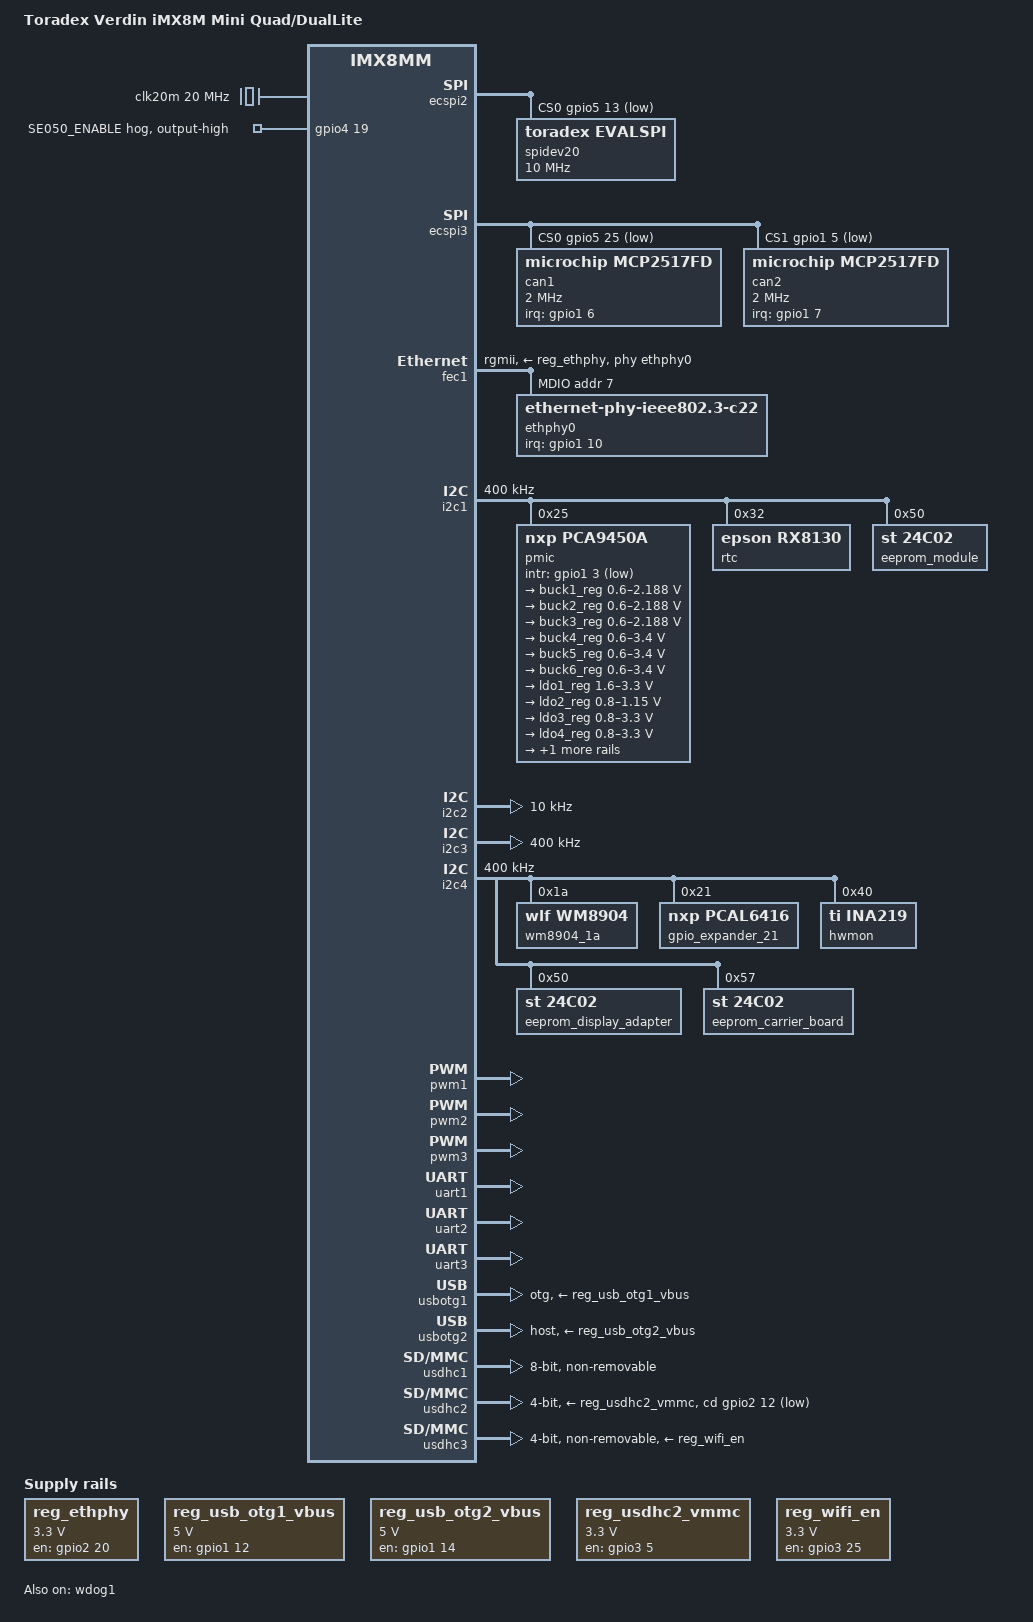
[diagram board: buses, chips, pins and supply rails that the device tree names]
// SPDX-License-Identifier: GPL-2.0+ OR MIT
/*
 * Copyright 2020 Toradex
 */

/dts-v1/;

#include <dt-bindings/usb/pd.h>
#include "imx8mm.dtsi"

/ {
	model = "Toradex Verdin iMX8M Mini Quad/DualLite";
	compatible = "toradex,verdin-imx8mm", "fsl,imx8mm";

	chosen {
		stdout-path = &uart1;
	};

	aliases {
		eeprom0 = &eeprom_module;
		eeprom1 = &eeprom_carrier_board;
		eeprom2 = &eeprom_display_adapter;
	};

	/* fixed clock dedicated to SPI CAN controller */
	clk20m: oscillator {
		compatible = "fixed-clock";
		#clock-cells = <0>;
		clock-frequency = <20000000>;
	};

	reg_ethphy: regulator-ethphy {
		compatible = "regulator-fixed";
		enable-active-high;
		gpio = <&gpio2 20 GPIO_ACTIVE_HIGH>;
		off-on-delay = <500000>;
		pinctrl-names = "default";
		pinctrl-0 = <&pinctrl_reg_eth>;
		regulator-boot-on;
		regulator-max-microvolt = <3300000>;
		regulator-min-microvolt = <3300000>;
		regulator-name = "V3.3_ETH";
		startup-delay-us = <200000>;
	};

	reg_usb_otg1_vbus: regulator-usb-otg1 {
		compatible = "regulator-fixed";
		enable-active-high;
		/* Verdin USB1_EN */
		gpio = <&gpio1 12 GPIO_ACTIVE_HIGH>;
		pinctrl-names = "default";
		pinctrl-0 = <&pinctrl_reg_usb1_en>;
		regulator-name = "usb_otg1_vbus";
		regulator-min-microvolt = <5000000>;
		regulator-max-microvolt = <5000000>;
	};

	reg_usb_otg2_vbus: regulator-usb-otg2 {
		compatible = "regulator-fixed";
		enable-active-high;
		/* Verdin USB2_EN */
		gpio = <&gpio1 14 GPIO_ACTIVE_HIGH>;
		pinctrl-names = "default";
		pinctrl-0 = <&pinctrl_reg_usb2_en>;
		regulator-name = "usb_otg2_vbus";
		regulator-min-microvolt = <5000000>;
		regulator-max-microvolt = <5000000>;
	};

	reg_usdhc2_vmmc: regulator-usdhc2 {
		compatible = "regulator-fixed";
		enable-active-high;
		gpio = <&gpio3 5 GPIO_ACTIVE_HIGH>;
		pinctrl-names = "default";
		pinctrl-0 = <&pinctrl_usdhc2_pwr_en>;
		regulator-name = "V3.3_SD";
		regulator-min-microvolt = <3300000>;
		regulator-max-microvolt = <3300000>;
		startup-delay-us = <2000>;
	};

	reg_wifi_en: regulator-wifi-en {
		compatible = "regulator-fixed";
		enable-active-high;
		gpio = <&gpio3 25 GPIO_ACTIVE_HIGH>;
		pinctrl-names = "default";
		pinctrl-0 = <&pinctrl_wifi_pwr_en>;
		regulator-name = "V3.3_WI-FI";
		regulator-min-microvolt = <3300000>;
		regulator-max-microvolt = <3300000>;
		startup-delay-us = <2000>;
	};
};

&A53_0 {
	arm-supply = <&buck2_reg>;
};

&clk {
	assigned-clocks = <&clk IMX8MM_AUDIO_PLL1>, <&clk IMX8MM_AUDIO_PLL2>;
	assigned-clock-rates = <786432000>, <722534400>;
};

/* Verdin SPI_1 */
&ecspi2 {
	#address-cells = <1>;
	#size-cells = <0>;
	pinctrl-names = "default";
	pinctrl-0 = <&pinctrl_ecspi2>;
	cs-gpios = <&gpio5 13 GPIO_ACTIVE_LOW>;
	status = "okay";

	spidev20: spidev@0 {
		compatible = "toradex,evalspi";
		reg = <0>;
		spi-max-frequency = <10000000>;
		status = "okay";
	};
};

/* On-module CAN controller 1 & 2 */
&ecspi3 {
	#address-cells = <1>;
	#size-cells = <0>;
	cs-gpios = <&gpio5 25 GPIO_ACTIVE_LOW>,
		   <&gpio1 5 GPIO_ACTIVE_LOW>;
	/* This property is required, even if marked as obsolete in the doku */
	fsl,spi-num-chipselects = <2>;
	pinctrl-names = "default";
	pinctrl-0 = <&pinctrl_ecspi3>;
	status = "okay";

	can1: can@0 {
		compatible = "microchip,mcp2517fd";
		clocks = <&clk20m>;
		gpio-controller;
		interrupt-parent = <&gpio1>;
		interrupts = <6 IRQ_TYPE_EDGE_FALLING>;
		microchip,clock-allways-on;
		microchip,clock-out-div = <1>;
		pinctrl-names = "default";
		pinctrl-0 = <&pinctrl_can1_int>;
		reg = <0>;
		spi-max-frequency = <2000000>;
	};

	can2: can@1 {
		compatible = "microchip,mcp2517fd";
		clocks = <&clk20m>;
		gpio-controller;
		interrupt-parent = <&gpio1>;
		interrupts = <7 IRQ_TYPE_EDGE_FALLING>;
		pinctrl-names = "default";
		pinctrl-0 = <&pinctrl_can2_int>;
		reg = <1>;
		spi-max-frequency = <2000000>;
	};
};

&fec1 {
	fsl,magic-packet;
	phy-handle = <&ethphy0>;
	phy-mode = "rgmii";
	phy-supply = <&reg_ethphy>;
	pinctrl-names = "default", "sleep";
	pinctrl-0 = <&pinctrl_fec1>;
	pinctrl-1 = <&pinctrl_fec1_sleep>;
	status = "okay";

	mdio {
		#address-cells = <1>;
		#size-cells = <0>;

		ethphy0: ethernet-phy@7 {
			compatible = "ethernet-phy-ieee802.3-c22";
			interrupt-parent = <&gpio1>;
			interrupts = <10 IRQ_TYPE_LEVEL_LOW>;
			micrel,led-mode = <0>;
			reg = <7>;
		};
	};
};

&gpio4 {
	/*
	 * The SE050 security element may be driven via I2C from user space.
	 * The element itself is enabled here as it has no kernel driver.
	 */
	se050_ena {
		gpio-hog;
		gpios = <19 GPIO_ACTIVE_HIGH>;
		line-name = "SE050_ENABLE";
		output-high;
		pinctrl-names = "default";
		pinctrl-0 = <&pinctrl_se050_ena>;
	};
};

/* On-module I2C */
&i2c1 {
	clock-frequency = <400000>;
	pinctrl-names = "default";
	pinctrl-0 = <&pinctrl_i2c1>;
	status = "okay";

	/* Assembled on V1.1 HW and later */
	pmic {
		reg = <0x25>;
		u-boot,dm-spl;
		compatible = "nxp,pca9450a";
		/* PMIC PCA9450 PMIC_nINT GPIO1_IO3 */
		pinctrl-0 = <&pinctrl_pmic>;
		gpio_intr = <&gpio1 3 GPIO_ACTIVE_LOW>;

		regulators {
			u-boot,dm-spl;
			#address-cells = <1>;
			#size-cells = <0>;

			pca9450,pmic-buck2-uses-i2c-dvs;
			/* Run/Standby voltage */
			pca9450,pmic-buck2-dvs-voltage = <950000>, <850000>;

			buck1_reg: regulator@0 {
				reg = <0>;
				regulator-compatible = "buck1";
				regulator-min-microvolt = <600000>;
				regulator-max-microvolt = <2187500>;
				regulator-boot-on;
				regulator-always-on;
				regulator-ramp-delay = <3125>;
			};

			buck2_reg: regulator@1 {
				reg = <1>;
				regulator-compatible = "buck2";
				regulator-min-microvolt = <600000>;
				regulator-max-microvolt = <2187500>;
				regulator-boot-on;
				regulator-always-on;
				regulator-ramp-delay = <3125>;
			};

			buck3_reg: regulator@2 {
				reg = <2>;
				regulator-compatible = "buck3";
				regulator-min-microvolt = <600000>;
				regulator-max-microvolt = <2187500>;
				regulator-boot-on;
				regulator-always-on;
			};

			buck4_reg: regulator@3 {
				reg = <3>;
				regulator-compatible = "buck4";
				regulator-min-microvolt = <600000>;
				regulator-max-microvolt = <3400000>;
				regulator-boot-on;
				regulator-always-on;
			};

			buck5_reg: regulator@4 {
				reg = <4>;
				regulator-compatible = "buck5";
				regulator-min-microvolt = <600000>;
				regulator-max-microvolt = <3400000>;
				regulator-boot-on;
				regulator-always-on;
			};

			buck6_reg: regulator@5 {
				reg = <5>;
				regulator-compatible = "buck6";
				regulator-min-microvolt = <600000>;
				regulator-max-microvolt = <3400000>;
				regulator-boot-on;
				regulator-always-on;
			};

			ldo1_reg: regulator@6 {
				reg = <6>;
				regulator-compatible = "ldo1";
				regulator-min-microvolt = <1600000>;
				regulator-max-microvolt = <3300000>;
				regulator-boot-on;
				regulator-always-on;
			};

			ldo2_reg: regulator@7 {
				reg = <7>;
				regulator-compatible = "ldo2";
				regulator-min-microvolt = <800000>;
				regulator-max-microvolt = <1150000>;
				regulator-boot-on;
				regulator-always-on;
			};

			ldo3_reg: regulator@8 {
				reg = <8>;
				regulator-compatible = "ldo3";
				regulator-min-microvolt = <800000>;
				regulator-max-microvolt = <3300000>;
				regulator-boot-on;
				regulator-always-on;
			};

			ldo4_reg: regulator@9 {
				reg = <9>;
				regulator-compatible = "ldo4";
				regulator-min-microvolt = <800000>;
				regulator-max-microvolt = <3300000>;
				regulator-boot-on;
				regulator-always-on;
			};

			ldo5_reg: regulator@10 {
				reg = <10>;
				regulator-compatible = "ldo5";
				regulator-min-microvolt = <800000>;
				regulator-max-microvolt = <3300000>;
			};

		};
	};

	/* Epson RX8130 real time clock on carrier board */
	rtc@32 {
		compatible = "epson,rx8130";
		reg = <0x32>;
	};

	eeprom_module: eeprom@50 {
		compatible = "st,24c02", "atmel,24c02", "i2c-eeprom";
		pagesize = <16>;
		reg = <0x50>;
	};
};

/* Verdin I2C_2_DSI */
&i2c2 {
	clock-frequency = <10000>;
	pinctrl-names = "default";
	pinctrl-0 = <&pinctrl_i2c2>;
	status = "okay";
};

/* Verdin I2C_3_HDMI N/A */

/* Verdin I2C_4_CSI */
&i2c3 {
	clock-frequency = <400000>;
	pinctrl-names = "default";
	pinctrl-0 = <&pinctrl_i2c3>;
	status = "okay";
};

/* Verdin I2C_1 */
&i2c4 {
	clock-frequency = <400000>;
	pinctrl-names = "default";
	pinctrl-0 = <&pinctrl_i2c4>;
	status = "okay";

	/* Audio Codec */
	wm8904_1a: codec@1a {
		compatible = "wlf,wm8904";
		#sound-dai-cells = <0>;
		clocks = <&clk IMX8MM_CLK_SAI2_ROOT>;
		clock-names = "mclk";
		reg = <0x1a>;
	};

	gpio_expander_21: gpio-expander@21 {
		compatible = "nxp,pcal6416";
		#gpio-cells = <2>;
		gpio-controller;
		reg = <0x21>;
	};

	/* Current measurement into module VCC */
	hwmon@40 {
		compatible = "ti,ina219";
		reg = <0x40>;
		shunt-resistor = <10000>;
		status = "okay";
	};

	/* EEPROM on display adapter (MIPI DSI Display Adapter) */
	eeprom_display_adapter: eeprom@50 {
		compatible = "st,24c02", "atmel,24c02", "i2c-eeprom";
		pagesize = <16>;
		reg = <0x50>;
	};

	/* EEPROM on carrier board */
	eeprom_carrier_board: eeprom@57 {
		compatible = "st,24c02", "atmel,24c02", "i2c-eeprom";
		pagesize = <16>;
		reg = <0x57>;
	};
};

/* Verdin PWM_3_DSI */
&pwm1 {
	pinctrl-names = "default";
	pinctrl-0 = <&pinctrl_pwm_1>;
	#pwm-cells = <3>;
	status = "okay";
};

/* Verdin PWM_1 */
&pwm2 {
	pinctrl-names = "default";
	pinctrl-0 = <&pinctrl_pwm_2>;
	#pwm-cells = <3>;
	status = "okay";
};

/* Verdin PWM_2 */
&pwm3 {
	pinctrl-names = "default";
	pinctrl-0 = <&pinctrl_pwm_3>;
	#pwm-cells = <3>;
	status = "okay";
};

/* Verdin UART_3, Console/Debug UART */
&uart1 {
	fsl,uart-has-rtscts;
	pinctrl-names = "default";
	pinctrl-0 = <&pinctrl_uart1>;
	status = "okay";
};

/* Verdin UART_1 */
&uart2 {
	pinctrl-names = "default";
	pinctrl-0 = <&pinctrl_uart2>;
	fsl,uart-has-rtscts;
	status = "okay";
};

/* Verdin UART_2 */
&uart3 {
	pinctrl-names = "default";
	pinctrl-0 = <&pinctrl_uart3>;
	fsl,uart-has-rtscts;
	status = "okay";
};

/* Verdin UART_4 */
/*
 * resource allocated to M4 by default, must not be accessed from A-35 or you
 * get an OOPS
 */
&uart4 {
	pinctrl-names = "default";
	pinctrl-0 = <&pinctrl_uart4>;
	status = "disabled";
};

/* Verdin USB_1 */
&usbotg1 {
	dr_mode = "otg";
	picophy,dc-vol-level-adjust = <7>;
	picophy,pre-emp-curr-control = <3>;
	vbus-supply = <&reg_usb_otg1_vbus>;
	status = "okay";
};

/* Verdin USB_2 */
&usbotg2 {
	dr_mode = "host";
	picophy,dc-vol-level-adjust = <7>;
	picophy,pre-emp-curr-control = <3>;
	vbus-supply = <&reg_usb_otg2_vbus>;
	status = "okay";
};

/* On-module eMMC */
&usdhc1 {
	bus-width = <8>;
	keep-power-in-suspend;
	non-removable;
	pinctrl-names = "default", "state_100mhz", "state_200mhz";
	pinctrl-0 = <&pinctrl_usdhc1>;
	pinctrl-1 = <&pinctrl_usdhc1_100mhz>;
	pinctrl-2 = <&pinctrl_usdhc1_200mhz>;
	pm-ignore-notify;
	status = "okay";
	/* TODO Strobe */
};

/* Verdin SD_1 */
&usdhc2 {
	bus-width = <4>;
	cd-gpios = <&gpio2 12 GPIO_ACTIVE_LOW>;
	pinctrl-names = "default", "state_100mhz", "state_200mhz";
	pinctrl-0 = <&pinctrl_usdhc2>, <&pinctrl_usdhc2_cd>;
	pinctrl-1 = <&pinctrl_usdhc2_100mhz>, <&pinctrl_usdhc2_cd>;
	pinctrl-2 = <&pinctrl_usdhc2_200mhz>, <&pinctrl_usdhc2_cd>;
	vmmc-supply = <&reg_usdhc2_vmmc>;
	status = "okay";
};

/* On-module Wi-Fi */
&usdhc3 {
	bus-width = <4>;
	non-removable;
	pinctrl-names = "default", "state_100mhz", "state_200mhz";
	pinctrl-0 = <&pinctrl_usdhc3>, <&pinctrl_wifi_ctrl>;
	pinctrl-1 = <&pinctrl_usdhc3_100mhz>, <&pinctrl_wifi_ctrl>;
	pinctrl-2 = <&pinctrl_usdhc3_200mhz>, <&pinctrl_wifi_ctrl>;
	vmmc-supply = <&reg_wifi_en>;
	status = "okay";
};

&wdog1 {
	fsl,ext-reset-output;
	pinctrl-names = "default";
	pinctrl-0 = <&pinctrl_wdog>;
	status = "okay";
};

&iomuxc {
	pinctrl-names = "default";
	pinctrl-0 = <&pinctrl_dsi_bkl_en>, <&pinctrl_gpio1>, <&pinctrl_gpio2>,
		    <&pinctrl_gpio3>, <&pinctrl_gpio4>, <&pinctrl_gpio5>,
		    <&pinctrl_gpio6>, <&pinctrl_gpio7>, <&pinctrl_gpio8>,
		    <&pinctrl_gpio_hog1>, <&pinctrl_gpio_hog2>,
		    <&pinctrl_gpio_hog3>, <&pinctrl_gpio_hpd>;

	pinctrl_can1_int: can1intgrp {
		fsl,pins = <
			MX8MM_IOMUXC_GPIO1_IO06_GPIO1_IO6	0x1c4
		>;
	};

	pinctrl_can2_int: can2intgrp {
		fsl,pins = <
			MX8MM_IOMUXC_GPIO1_IO07_GPIO1_IO7	0x1c4
		>;
	};

	pinctrl_ctrl_force_off_moci: ctrlforceoffgrp {
		fsl,pins = <
			MX8MM_IOMUXC_SAI5_RXC_GPIO3_IO20	0x1c4		/* SODIMM 250 */
		>;
	};

	pinctrl_dsi_bkl_en: dsi_bkl_en {
		fsl,pins = <
			MX8MM_IOMUXC_NAND_CE2_B_GPIO3_IO3	0x1c4		/* SODIMM 21 */
		>;
	};

	pinctrl_ecspi2: ecspi2grp {
		fsl,pins = <
			MX8MM_IOMUXC_ECSPI2_MISO_ECSPI2_MISO	0x1c4		/* SODIMM 198 */
			MX8MM_IOMUXC_ECSPI2_MOSI_ECSPI2_MOSI	0x4		/* SODIMM 200 */
			MX8MM_IOMUXC_ECSPI2_SCLK_ECSPI2_SCLK	0x4		/* SODIMM 196 */
			MX8MM_IOMUXC_ECSPI2_SS0_GPIO5_IO13	0x1c4		/* SODIMM 202 */
		>;
	};

	pinctrl_ecspi3: ecspi3grp {
		fsl,pins = <
			MX8MM_IOMUXC_GPIO1_IO05_GPIO1_IO5	0x1c4
			MX8MM_IOMUXC_UART1_RXD_ECSPI3_SCLK	0x4
			MX8MM_IOMUXC_UART1_TXD_ECSPI3_MOSI	0x4
			MX8MM_IOMUXC_UART2_RXD_ECSPI3_MISO	0x1c4
			MX8MM_IOMUXC_UART2_TXD_GPIO5_IO25	0x1c4
		>;
	};

	pinctrl_fec1: fec1grp {
		fsl,pins = <
			MX8MM_IOMUXC_ENET_MDC_ENET1_MDC			0x3
			MX8MM_IOMUXC_ENET_MDIO_ENET1_MDIO		0x3
			MX8MM_IOMUXC_ENET_TD0_ENET1_RGMII_TD0		0x1f
			MX8MM_IOMUXC_ENET_TD1_ENET1_RGMII_TD1		0x1f
			MX8MM_IOMUXC_ENET_TD2_ENET1_RGMII_TD2		0x1f
			MX8MM_IOMUXC_ENET_TD3_ENET1_RGMII_TD3		0x1f
			MX8MM_IOMUXC_ENET_RD0_ENET1_RGMII_RD0		0x91
			MX8MM_IOMUXC_ENET_RD1_ENET1_RGMII_RD1		0x91
			MX8MM_IOMUXC_ENET_RD2_ENET1_RGMII_RD2		0x91
			MX8MM_IOMUXC_ENET_RD3_ENET1_RGMII_RD3		0x91
			MX8MM_IOMUXC_ENET_RXC_ENET1_RGMII_RXC		0x91
			MX8MM_IOMUXC_ENET_RX_CTL_ENET1_RGMII_RX_CTL	0x91
			MX8MM_IOMUXC_ENET_TXC_ENET1_RGMII_TXC		0x1f
			MX8MM_IOMUXC_ENET_TX_CTL_ENET1_RGMII_TX_CTL	0x1f
			MX8MM_IOMUXC_GPIO1_IO10_GPIO1_IO10		0x1c4
		>;
	};

	pinctrl_fec1_sleep: fec1-sleepgrp {
		fsl,pins = <
			MX8MM_IOMUXC_ENET_MDC_ENET1_MDC			0x3
			MX8MM_IOMUXC_ENET_MDIO_ENET1_MDIO		0x3
			MX8MM_IOMUXC_ENET_TD0_GPIO1_IO21		0x1f
			MX8MM_IOMUXC_ENET_TD1_GPIO1_IO20		0x1f
			MX8MM_IOMUXC_ENET_TD2_GPIO1_IO19		0x1f
			MX8MM_IOMUXC_ENET_TD3_GPIO1_IO18		0x1f
			MX8MM_IOMUXC_ENET_RD0_ENET1_RGMII_RD0		0x91
			MX8MM_IOMUXC_ENET_RD1_ENET1_RGMII_RD1		0x91
			MX8MM_IOMUXC_ENET_RD2_ENET1_RGMII_RD2		0x91
			MX8MM_IOMUXC_ENET_RD3_ENET1_RGMII_RD3		0x91
			MX8MM_IOMUXC_ENET_TXC_GPIO1_IO23		0x1f
			MX8MM_IOMUXC_ENET_TX_CTL_GPIO1_IO22		0x1f
			MX8MM_IOMUXC_ENET_RXC_ENET1_RGMII_RXC		0x91
			MX8MM_IOMUXC_ENET_RX_CTL_ENET1_RGMII_RX_CTL	0x91
			MX8MM_IOMUXC_GPIO1_IO10_GPIO1_IO10		0x184
		>;
	};

	pinctrl_flexspi0: flexspi0grp {
		fsl,pins = <
			MX8MM_IOMUXC_NAND_ALE_QSPI_A_SCLK	0x1c2		/* SODIMM 52 */
			MX8MM_IOMUXC_NAND_CE0_B_QSPI_A_SS0_B	0x82		/* SODIMM 54 */
			MX8MM_IOMUXC_NAND_CE1_B_QSPI_A_SS1_B	0x82		/* SODIMM 64 */
			MX8MM_IOMUXC_NAND_DATA00_QSPI_A_DATA0	0x82		/* SODIMM 56 */
			MX8MM_IOMUXC_NAND_DATA01_QSPI_A_DATA1	0x82		/* SODIMM 58 */
			MX8MM_IOMUXC_NAND_DATA02_QSPI_A_DATA2	0x82		/* SODIMM 60 */
			MX8MM_IOMUXC_NAND_DATA03_QSPI_A_DATA3	0x82		/* SODIMM 62 */
			MX8MM_IOMUXC_NAND_DQS_QSPI_A_DQS	0x82		/* SODIMM 66 */
		>;
	};

	/* (MEZ_)GPIO_1 shared with (MEZ_)DSI_1_INT# on Verdin Development Board */
	pinctrl_gpio1: gpio1grp {
		fsl,pins = <
			MX8MM_IOMUXC_NAND_CE3_B_GPIO3_IO4	0x184		/* SODIMM 206 */
		>;
	};

	pinctrl_gpio2: gpio2grp {
		fsl,pins = <
			MX8MM_IOMUXC_SPDIF_EXT_CLK_GPIO5_IO5	0x184		/* SODIMM 208 */
		>;
	};

	pinctrl_gpio3: gpio3grp {
		fsl,pins = <
			MX8MM_IOMUXC_UART3_RXD_GPIO5_IO26	0x184		/* SODIMM 210 */
		>;
	};

	pinctrl_gpio4: gpio4grp {
		fsl,pins = <
			MX8MM_IOMUXC_UART3_TXD_GPIO5_IO27	0x184		/* SODIMM 212 */
		>;
	};

	pinctrl_gpio5: gpio5grp {
		fsl,pins = <
			MX8MM_IOMUXC_GPIO1_IO00_GPIO1_IO0	0x184		/* SODIMM 216 */
		>;
	};

	pinctrl_gpio6: gpio6grp {
		fsl,pins = <
			MX8MM_IOMUXC_GPIO1_IO11_GPIO1_IO11	0x184		/* SODIMM 218 */
		>;
	};

	pinctrl_gpio7: gpio7grp {
		fsl,pins = <
			MX8MM_IOMUXC_GPIO1_IO08_GPIO1_IO8	0x184		/* SODIMM 220 */
		>;
	};

	pinctrl_gpio8: gpio8grp {
		fsl,pins = <
			MX8MM_IOMUXC_GPIO1_IO09_GPIO1_IO9	0x184		/* SODIMM 222 */
		>;
	};

	pinctrl_gpio_hog1: gpiohog1grp {
		fsl,pins = <
			MX8MM_IOMUXC_SAI1_MCLK_GPIO4_IO20	0x1c4		/* SODIMM 88 */
			MX8MM_IOMUXC_SAI1_RXC_GPIO4_IO1		0x1c4		/* SODIMM 90 */
			MX8MM_IOMUXC_SAI1_RXD0_GPIO4_IO2	0x1c4		/* SODIMM 92 */
			MX8MM_IOMUXC_SAI1_RXD1_GPIO4_IO3	0x1c4		/* SODIMM 94 */
			MX8MM_IOMUXC_SAI1_RXD2_GPIO4_IO4	0x1c4		/* SODIMM 96 */
			MX8MM_IOMUXC_SAI1_RXD3_GPIO4_IO5	0x1c4		/* SODIMM 100 */
			MX8MM_IOMUXC_SAI1_RXFS_GPIO4_IO0	0x1c4		/* SODIMM 102 */
			MX8MM_IOMUXC_SAI1_TXC_GPIO4_IO11	0x1c4		/* SODIMM 104 */
			MX8MM_IOMUXC_SAI1_TXD0_GPIO4_IO12	0x1c4		/* SODIMM 106 */
			MX8MM_IOMUXC_SAI1_TXD1_GPIO4_IO13	0x1c4		/* SODIMM 108 */
			MX8MM_IOMUXC_SAI1_TXD2_GPIO4_IO14	0x1c4		/* SODIMM 112 */
			MX8MM_IOMUXC_SAI1_TXD3_GPIO4_IO15	0x1c4		/* SODIMM 114 */
			MX8MM_IOMUXC_SAI1_TXD4_GPIO4_IO16	0x1c4		/* SODIMM 116 */
			MX8MM_IOMUXC_SAI1_TXD6_GPIO4_IO18	0x1c4		/* SODIMM 118 */
			MX8MM_IOMUXC_SAI1_TXFS_GPIO4_IO10	0x1c4		/* SODIMM 120 */
		>;
	};

	pinctrl_gpio_hog2: gpiohog2grp {
		fsl,pins = <
			MX8MM_IOMUXC_SAI3_MCLK_GPIO5_IO2	0x1c4		/* SODIMM 91 */
		>;
	};

	pinctrl_gpio_hog3: gpiohog3grp {
		fsl,pins = <
			MX8MM_IOMUXC_GPIO1_IO13_GPIO1_IO13	0x1c4		/* SODIMM 157 */
			MX8MM_IOMUXC_GPIO1_IO15_GPIO1_IO15	0x1c4		/* SODIMM 187 */
		>;
	};

	/* (MEZ_)DSI_1_INT# shared with (MEZ_)GPIO_1 on Verdin Development Board */
	pinctrl_gpio_hpd: gpiohpdgrp {
		fsl,pins = <
			MX8MM_IOMUXC_NAND_RE_B_GPIO3_IO15	0x184		/* SODIMM 17 */
		>;
	};

	/* On-module I2C */
	pinctrl_i2c1: i2c1grp {
		fsl,pins = <
			MX8MM_IOMUXC_I2C1_SCL_I2C1_SCL		0x400001c6
			MX8MM_IOMUXC_I2C1_SDA_I2C1_SDA		0x400001c6
		>;
	};

	/* Verdin I2C_4_CSI */
	pinctrl_i2c2: i2c2grp {
		fsl,pins = <
			MX8MM_IOMUXC_I2C2_SCL_I2C2_SCL		0x400001c6	/* SODIMM 55 */
			MX8MM_IOMUXC_I2C2_SDA_I2C2_SDA		0x400001c6	/* SODIMM 53 */
		>;
	};

	/* Verdin I2C_2_DSI */
	pinctrl_i2c3: i2c3grp {
		fsl,pins = <
			MX8MM_IOMUXC_I2C3_SCL_I2C3_SCL		0x400001c6	/* SODIMM 95 */
			MX8MM_IOMUXC_I2C3_SDA_I2C3_SDA		0x400001c6	/* SODIMM 93 */
		>;
	};

	/* Verdin I2C_1 */
	pinctrl_i2c4: i2c4grp {
		fsl,pins = <
			MX8MM_IOMUXC_I2C4_SCL_I2C4_SCL		0x400001c6	/* SODIMM 14 */
			MX8MM_IOMUXC_I2C4_SDA_I2C4_SDA		0x400001c6	/* SODIMM 12 */
		>;
	};

	pinctrl_pcie0: pcie0grp {
		fsl,pins = <
			MX8MM_IOMUXC_SAI5_RXFS_GPIO3_IO19	0x6		/* SODIMM 244 */
			MX8MM_IOMUXC_SD2_RESET_B_GPIO2_IO19	0x6		/* PMIC_EN_PCIe_CLK */
		>;
	};

	pinctrl_pmic: pmicirqgrp {
		fsl,pins = <
			MX8MM_IOMUXC_GPIO1_IO03_GPIO1_IO3	0x41
		>;
	};

	pinctrl_pwm_1: pwm1grp {
		fsl,pins = <
			MX8MM_IOMUXC_GPIO1_IO01_PWM1_OUT	0x6		/* SODIMM 19 */
		>;
	};

	pinctrl_pwm_2: pwm2grp {
		fsl,pins = <
			MX8MM_IOMUXC_SPDIF_RX_PWM2_OUT		0x6		/* SODIMM 15 */
		>;
	};

	pinctrl_pwm_3: pwm3grp {
		fsl,pins = <
			MX8MM_IOMUXC_SPDIF_TX_PWM3_OUT		0x6		/* SODIMM 16 */
		>;
	};

	pinctrl_reg_eth: regethgrp {
		fsl,pins = <
			MX8MM_IOMUXC_SD2_WP_GPIO2_IO20		0x184
		>;
	};

	pinctrl_reg_usb1_en: regusb1engrp {
		fsl,pins = <
			MX8MM_IOMUXC_GPIO1_IO12_GPIO1_IO12	0x184		/* SODIMM 155 */
		>;
	};

	pinctrl_reg_usb2_en: regusb2engrp {
		fsl,pins = <
			MX8MM_IOMUXC_GPIO1_IO14_GPIO1_IO14	0x184		/* SODIMM 185 */
		>;
	};

	pinctrl_sai2: sai2grp {
		fsl,pins = <
			MX8MM_IOMUXC_SAI2_MCLK_SAI2_MCLK	0xd6		/* SODIMM 38 */
			MX8MM_IOMUXC_SAI2_RXD0_SAI2_RX_DATA0	0xd6		/* SODIMM 36 */
			MX8MM_IOMUXC_SAI2_TXC_SAI2_TX_BCLK	0xd6		/* SODIMM 30 */
			MX8MM_IOMUXC_SAI2_TXD0_SAI2_TX_DATA0	0xd6		/* SODIMM 34 */
			MX8MM_IOMUXC_SAI2_TXFS_SAI2_TX_SYNC	0xd6		/* SODIMM 32 */
		>;
	};

	pinctrl_sai5: sai5grp {
		fsl,pins = <
			MX8MM_IOMUXC_SAI5_RXD0_SAI5_RX_DATA0	0xd6		/* SODIMM 48 */
			MX8MM_IOMUXC_SAI5_RXD1_SAI5_TX_SYNC	0xd6		/* SODIMM 44 */
			MX8MM_IOMUXC_SAI5_RXD2_SAI5_TX_BCLK	0xd6		/* SODIMM 42 */
			MX8MM_IOMUXC_SAI5_RXD3_SAI5_TX_DATA0	0xd6		/* SODIMM 46 */
		>;
	};

	pinctrl_se050_ena: se050enagrp {
		fsl,pins = <
			MX8MM_IOMUXC_SAI1_TXD7_GPIO4_IO19	0x184
		>;
	};

	pinctrl_uart1: uart1grp {
		fsl,pins = <
			MX8MM_IOMUXC_SAI2_RXC_UART1_DCE_RX	0x1c4		/* SODIMM 147 */
			MX8MM_IOMUXC_SAI2_RXFS_UART1_DCE_TX	0x1c4		/* SODIMM 149 */
		>;
	};

	pinctrl_uart2: uart2grp {
		fsl,pins = <
			MX8MM_IOMUXC_SAI3_RXC_UART2_DCE_CTS_B	0x1c4		/* SODIMM 133 */
			MX8MM_IOMUXC_SAI3_RXD_UART2_DCE_RTS_B	0x1c4		/* SODIMM 135 */
			MX8MM_IOMUXC_SAI3_TXC_UART2_DCE_TX	0x1c4		/* SODIMM 131 */
			MX8MM_IOMUXC_SAI3_TXFS_UART2_DCE_RX	0x1c4		/* SODIMM 129 */
		>;
	};

	pinctrl_uart3: uart3grp {
		fsl,pins = <
			MX8MM_IOMUXC_ECSPI1_MISO_UART3_DCE_CTS_B	0x1c4	/* SODIMM 141 */
			MX8MM_IOMUXC_ECSPI1_MOSI_UART3_DCE_TX		0x1c4	/* SODIMM 139 */
			MX8MM_IOMUXC_ECSPI1_SCLK_UART3_DCE_RX		0x1c4	/* SODIMM 137 */
			MX8MM_IOMUXC_ECSPI1_SS0_UART3_DCE_RTS_B		0x1c4	/* SODIMM 143 */
		>;
	};

	pinctrl_uart4: uart4grp {
		fsl,pins = <
			MX8MM_IOMUXC_UART4_RXD_UART4_DCE_RX	0x1c4		/* SODIMM 151 */
			MX8MM_IOMUXC_UART4_TXD_UART4_DCE_TX	0x1c4		/* SODIMM 153 */
		>;
	};

	pinctrl_usdhc1: usdhc1grp {
		fsl,pins = <
			MX8MM_IOMUXC_SD1_CLK_USDHC1_CLK		0x190
			MX8MM_IOMUXC_SD1_CMD_USDHC1_CMD		0x1d0
			MX8MM_IOMUXC_SD1_DATA0_USDHC1_DATA0	0x1d0
			MX8MM_IOMUXC_SD1_DATA1_USDHC1_DATA1	0x1d0
			MX8MM_IOMUXC_SD1_DATA2_USDHC1_DATA2	0x1d0
			MX8MM_IOMUXC_SD1_DATA3_USDHC1_DATA3	0x1d0
			MX8MM_IOMUXC_SD1_DATA4_USDHC1_DATA4	0x1d0
			MX8MM_IOMUXC_SD1_DATA5_USDHC1_DATA5	0x1d0
			MX8MM_IOMUXC_SD1_DATA6_USDHC1_DATA6	0x1d0
			MX8MM_IOMUXC_SD1_DATA7_USDHC1_DATA7	0x1d0
			MX8MM_IOMUXC_SD1_STROBE_USDHC1_STROBE	0x190
		>;
	};

	pinctrl_usdhc1_100mhz: usdhc1grp100mhz {
		fsl,pins = <
			MX8MM_IOMUXC_SD1_CLK_USDHC1_CLK		0x194
			MX8MM_IOMUXC_SD1_CMD_USDHC1_CMD		0x1d4
			MX8MM_IOMUXC_SD1_DATA0_USDHC1_DATA0	0x1d4
			MX8MM_IOMUXC_SD1_DATA1_USDHC1_DATA1	0x1d4
			MX8MM_IOMUXC_SD1_DATA2_USDHC1_DATA2	0x1d4
			MX8MM_IOMUXC_SD1_DATA3_USDHC1_DATA3	0x1d4
			MX8MM_IOMUXC_SD1_DATA4_USDHC1_DATA4	0x1d4
			MX8MM_IOMUXC_SD1_DATA5_USDHC1_DATA5	0x1d4
			MX8MM_IOMUXC_SD1_DATA6_USDHC1_DATA6	0x1d4
			MX8MM_IOMUXC_SD1_DATA7_USDHC1_DATA7	0x1d4
			MX8MM_IOMUXC_SD1_STROBE_USDHC1_STROBE	0x194
		>;
	};

	pinctrl_usdhc1_200mhz: usdhc1grp200mhz {
		fsl,pins = <
			MX8MM_IOMUXC_SD1_CLK_USDHC1_CLK		0x196
			MX8MM_IOMUXC_SD1_CMD_USDHC1_CMD		0x1d6
			MX8MM_IOMUXC_SD1_DATA0_USDHC1_DATA0	0x1d6
			MX8MM_IOMUXC_SD1_DATA1_USDHC1_DATA1	0x1d6
			MX8MM_IOMUXC_SD1_DATA2_USDHC1_DATA2	0x1d6
			MX8MM_IOMUXC_SD1_DATA3_USDHC1_DATA3	0x1d6
			MX8MM_IOMUXC_SD1_DATA4_USDHC1_DATA4	0x1d6
			MX8MM_IOMUXC_SD1_DATA5_USDHC1_DATA5	0x1d6
			MX8MM_IOMUXC_SD1_DATA6_USDHC1_DATA6	0x1d6
			MX8MM_IOMUXC_SD1_DATA7_USDHC1_DATA7	0x1d6
			MX8MM_IOMUXC_SD1_STROBE_USDHC1_STROBE	0x196
		>;
	};

	pinctrl_usdhc2_cd: usdhc2cdgrp {
		fsl,pins = <
			MX8MM_IOMUXC_SD2_CD_B_GPIO2_IO12	0x1c4		/* SODIMM 84 */
		>;
	};

	pinctrl_usdhc2_pwr_en: usdhc2pwrengrp {
		fsl,pins = <
			MX8MM_IOMUXC_NAND_CLE_GPIO3_IO5		0x184		/* SODIMM 76 */
		>;
	};

	pinctrl_usdhc2: usdhc2grp {
		fsl,pins = <
			MX8MM_IOMUXC_GPIO1_IO04_USDHC2_VSELECT	0x1d0
			MX8MM_IOMUXC_SD2_CLK_USDHC2_CLK		0x190		/* SODIMM 78 */
			MX8MM_IOMUXC_SD2_CMD_USDHC2_CMD		0x1d0		/* SODIMM 74 */
			MX8MM_IOMUXC_SD2_DATA0_USDHC2_DATA0	0x1d0		/* SODIMM 80 */
			MX8MM_IOMUXC_SD2_DATA1_USDHC2_DATA1	0x1d0		/* SODIMM 82 */
			MX8MM_IOMUXC_SD2_DATA2_USDHC2_DATA2	0x1d0		/* SODIMM 70 */
			MX8MM_IOMUXC_SD2_DATA3_USDHC2_DATA3	0x1d0		/* SODIMM 72 */
		>;
	};

	pinctrl_usdhc2_100mhz: usdhc2grp100mhz {
		fsl,pins = <
			MX8MM_IOMUXC_GPIO1_IO04_USDHC2_VSELECT	0x1d0
			MX8MM_IOMUXC_SD2_CLK_USDHC2_CLK		0x194
			MX8MM_IOMUXC_SD2_CMD_USDHC2_CMD		0x1d4
			MX8MM_IOMUXC_SD2_DATA0_USDHC2_DATA0	0x1d4
			MX8MM_IOMUXC_SD2_DATA1_USDHC2_DATA1	0x1d4
			MX8MM_IOMUXC_SD2_DATA2_USDHC2_DATA2	0x1d4
			MX8MM_IOMUXC_SD2_DATA3_USDHC2_DATA3	0x1d4
		>;
	};

	pinctrl_usdhc2_200mhz: usdhc2grp200mhz {
		fsl,pins = <
			MX8MM_IOMUXC_GPIO1_IO04_USDHC2_VSELECT	0x1d0
			MX8MM_IOMUXC_SD2_CLK_USDHC2_CLK		0x196
			MX8MM_IOMUXC_SD2_CMD_USDHC2_CMD		0x1d6
			MX8MM_IOMUXC_SD2_DATA0_USDHC2_DATA0	0x1d6
			MX8MM_IOMUXC_SD2_DATA1_USDHC2_DATA1	0x1d6
			MX8MM_IOMUXC_SD2_DATA2_USDHC2_DATA2	0x1d6
			MX8MM_IOMUXC_SD2_DATA3_USDHC2_DATA3	0x1d6
		>;
	};

	pinctrl_usdhc3: usdhc3grp {
		fsl,pins = <
			MX8MM_IOMUXC_NAND_DATA04_USDHC3_DATA0	0x1d0
			MX8MM_IOMUXC_NAND_DATA05_USDHC3_DATA1	0x1d0
			MX8MM_IOMUXC_NAND_DATA06_USDHC3_DATA2	0x1d0
			MX8MM_IOMUXC_NAND_DATA07_USDHC3_DATA3	0x1d0
			MX8MM_IOMUXC_NAND_WE_B_USDHC3_CLK	0x190
			MX8MM_IOMUXC_NAND_WP_B_USDHC3_CMD	0x1d0
		>;
	};

	pinctrl_usdhc3_100mhz: usdhc3grp100mhz {
		fsl,pins = <
			MX8MM_IOMUXC_NAND_DATA04_USDHC3_DATA0	0x1d4
			MX8MM_IOMUXC_NAND_DATA05_USDHC3_DATA1	0x1d4
			MX8MM_IOMUXC_NAND_DATA06_USDHC3_DATA2	0x1d4
			MX8MM_IOMUXC_NAND_DATA07_USDHC3_DATA3	0x1d4
			MX8MM_IOMUXC_NAND_WE_B_USDHC3_CLK	0x194
			MX8MM_IOMUXC_NAND_WP_B_USDHC3_CMD	0x1d4
		>;
	};

	pinctrl_usdhc3_200mhz: usdhc3grp200mhz {
		fsl,pins = <
			MX8MM_IOMUXC_NAND_DATA04_USDHC3_DATA0	0x1d6
			MX8MM_IOMUXC_NAND_DATA05_USDHC3_DATA1	0x1d6
			MX8MM_IOMUXC_NAND_DATA06_USDHC3_DATA2	0x1d6
			MX8MM_IOMUXC_NAND_DATA07_USDHC3_DATA3	0x1d6
			MX8MM_IOMUXC_NAND_WE_B_USDHC3_CLK	0x196
			MX8MM_IOMUXC_NAND_WP_B_USDHC3_CMD	0x1d6
		>;
	};

	pinctrl_wdog: wdoggrp {
		fsl,pins = <
			MX8MM_IOMUXC_GPIO1_IO02_WDOG1_WDOG_B	0xc6
		>;
	};

	pinctrl_wifi_ctrl: wifictrlgrp {
		fsl,pins = <
			MX8MM_IOMUXC_NAND_READY_B_GPIO3_IO16	0x1c4		/* WIFI_WKUP_BT */
			MX8MM_IOMUXC_SAI1_RXD7_GPIO4_IO9	0x1c4		/* WIFI_W_WKUP_HOST */
			MX8MM_IOMUXC_SD1_RESET_B_GPIO2_IO10	0x1c4		/* WIFI_WKUP_WLAN */
		>;
	};

	pinctrl_wifi_i2s: wifii2sgrp {
		fsl,pins = <
			MX8MM_IOMUXC_SAI1_RXD4_SAI6_TX_BCLK	0xd6
			MX8MM_IOMUXC_SAI1_RXD5_SAI6_TX_DATA0	0xd6
			MX8MM_IOMUXC_SAI1_RXD6_SAI6_TX_SYNC	0xd6
			MX8MM_IOMUXC_SAI1_TXD5_SAI6_RX_DATA0	0xd6
		>;
	};

	pinctrl_wifi_pwr_en: wifipwrengrp {
		fsl,pins = <
			MX8MM_IOMUXC_SAI5_MCLK_GPIO3_IO25	0x184		/* PMIC_EN_WIFI */
		>;
	};
};
